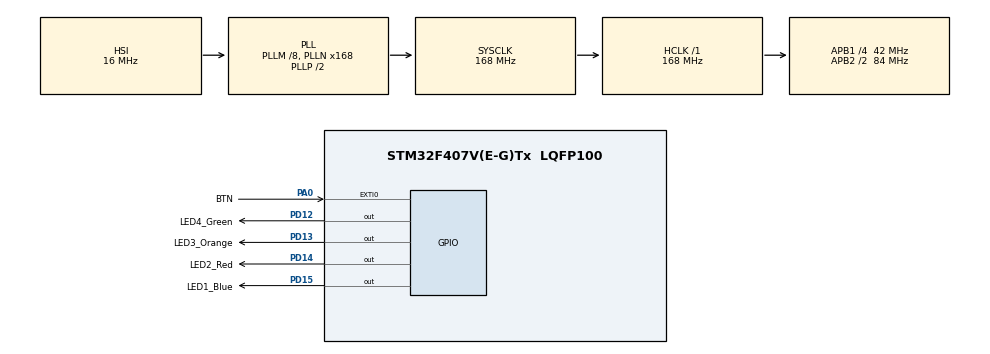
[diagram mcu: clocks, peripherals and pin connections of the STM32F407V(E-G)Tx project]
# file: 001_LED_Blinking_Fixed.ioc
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Mcu.Family=STM32F4
Mcu.Name=STM32F407V(E-G)Tx
Mcu.Package=LQFP100
NVIC.EXTI0_IRQn=true\:0\:0\:false\:false\:true\:true\:true\:true
NVIC.PriorityGroup=NVIC_PRIORITYGROUP_4
PA0-WKUP.GPIO_Label=BTN
PA0-WKUP.GPIO_ModeDefaultEXTI=GPIO_MODE_IT_RISING
PA0-WKUP.GPIO_PuPd=GPIO_PULLUP
PA0-WKUP.Signal=GPXTI0
PA13.Mode=Trace_Asynchronous_SW
PA13.Signal=SYS_JTMS-SWDIO
PA14.Mode=Trace_Asynchronous_SW
PA14.Signal=SYS_JTCK-SWCLK
PB3.Mode=Trace_Asynchronous_SW
PB3.Signal=SYS_JTDO-SWO
PD12.GPIO_Label=LED4_Green
PD12.PinState=GPIO_PIN_SET
PD12.Signal=GPIO_Output
PD13.GPIO_Label=LED3_Orange
PD13.PinState=GPIO_PIN_SET
PD13.Signal=GPIO_Output
PD14.GPIO_Label=LED2_Red
PD14.Signal=GPIO_Output
PD15.GPIO_Label=LED1_Blue
PD15.Signal=GPIO_Output
PH0-OSC_IN.Mode=HSE-External-Oscillator
PH0-OSC_IN.Signal=RCC_OSC_IN
PH1-OSC_OUT.Mode=HSE-External-Oscillator
PH1-OSC_OUT.Signal=RCC_OSC_OUT
ProjectManager.HeapSize=0x200
ProjectManager.StackSize=0x400
ProjectManager.TargetToolchain=STM32CubeIDE
RCC.48MHZClocksFreq_Value=84000000
RCC.AHBFreq_Value=168000000
RCC.APB1CLKDivider=RCC_HCLK_DIV4
RCC.APB1Freq_Value=42000000
RCC.APB1TimFreq_Value=84000000
RCC.APB2CLKDivider=RCC_HCLK_DIV2
RCC.APB2Freq_Value=84000000
RCC.APB2TimFreq_Value=168000000
RCC.CortexFreq_Value=168000000
RCC.HCLKFreq_Value=168000000
RCC.HSE_VALUE=8000000
RCC.HSI_VALUE=16000000
RCC.LSE_VALUE=32768
RCC.PLLM=8
RCC.PLLN=168
RCC.SYSCLKFreq_VALUE=168000000
RCC.SYSCLKSource=RCC_SYSCLKSOURCE_PLLCLK
RCC.VCOOutputFreq_Value=336000000
board=custom

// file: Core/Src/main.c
/* USER CODE BEGIN Header */
/**
  ******************************************************************************
  * @file           : main.c
  * @brief          : Main program body
  ******************************************************************************
  * @attention
  *
  * Copyright (c) 2025 STMicroelectronics.
  * All rights reserved.
  *
  * This software is licensed under terms that can be found in the LICENSE file
  * in the root directory of this software component.
  * If no LICENSE file comes with this software, it is provided AS-IS.
  *
  ******************************************************************************
  */
/* USER CODE END Header */
#include "main.h"

/* USER CODE BEGIN Includes */

#include "stdio.h"

/* USER CODE END Includes */

/* USER CODE BEGIN PV */

uint8_t btn_press = 0;

uint16_t blink_delays[] = {

};

/* USER CODE END PV */

void SystemClock_Config(void);
static void MX_GPIO_Init(void);

/* USER CODE BEGIN 0 */

/**
  * @brief  Meretarget fungsi _write (yang digunakan oleh printf) ke ITM.
  */
int _write(int file, char *ptr, int len)
{
  int DataIdx;
  for (DataIdx = 0; DataIdx < len; DataIdx++)
  {
    ITM_SendChar(*ptr++); // Mengirim karakter satu per satu via SWO
  }
  return len;
}

void HAL_GPIO_EXTI_Callback(uint16_t GPIO_Pin) {
  if (GPIO_Pin == BTN_Pin) {
    btn_press = 1;
  }
}

/* USER CODE END 0 */

int main(void)
{

  /* MCU Configuration--------------------------------------------------------*/

  /* Reset of all peripherals, Initializes the Flash interface and the Systick. */
  HAL_Init();

  /* Configure the system clock */
  SystemClock_Config();

  /* Initialize all configured peripherals */
  MX_GPIO_Init();
  /* USER CODE BEGIN 2 */

  printf("Blinking Starting\n");

  /* USER CODE END 2 */

  /* Infinite loop */
  /* USER CODE BEGIN WHILE */

  uint32_t now = 0, last_blink = 0, last_tick = 0, loop_cnt = 0;

  while (1)
  {

    now = HAL_GetTick();

    if (now - last_blink >= 500) {
        printf("Toogling GPIO\n");
        HAL_GPIO_TogglePin(GPIOD, LED1_Blue_Pin|LED2_Red_Pin|LED3_Orange_Pin|LED4_Green_Pin);
        last_blink = now;
    }

    if (now - last_tick >= 1000) {
      printf("Tick %lu (loop count = %lu)\n", now / 1000, loop_cnt);
      loop_cnt = 0;
      last_tick = now;
    }

    if (btn_press == 1) {
      printf("Button pressed!\n");
      btn_press = 0;
    }
    ++loop_cnt;

    /* USER CODE END WHILE */

  }
}

void SystemClock_Config(void)
{
  RCC_OscInitTypeDef RCC_OscInitStruct = {0};
  RCC_ClkInitTypeDef RCC_ClkInitStruct = {0};

  /** Configure the main internal regulator output voltage
  */
  __HAL_RCC_PWR_CLK_ENABLE();
  __HAL_PWR_VOLTAGESCALING_CONFIG(PWR_REGULATOR_VOLTAGE_SCALE1);

  /** Initializes the RCC Oscillators according to the specified parameters
  * in the RCC_OscInitTypeDef structure.
  */
  RCC_OscInitStruct.OscillatorType = RCC_OSCILLATORTYPE_HSI;
  RCC_OscInitStruct.HSIState = RCC_HSI_ON;
  RCC_OscInitStruct.HSICalibrationValue = RCC_HSICALIBRATION_DEFAULT;
  RCC_OscInitStruct.PLL.PLLState = RCC_PLL_ON;
  RCC_OscInitStruct.PLL.PLLSource = RCC_PLLSOURCE_HSI;
  RCC_OscInitStruct.PLL.PLLM = 8;
  RCC_OscInitStruct.PLL.PLLN = 168;
  RCC_OscInitStruct.PLL.PLLP = RCC_PLLP_DIV2;
  RCC_OscInitStruct.PLL.PLLQ = 4;
  if (HAL_RCC_OscConfig(&RCC_OscInitStruct) != HAL_OK)
  {
    Error_Handler();
  }

  /** Initializes the CPU, AHB and APB buses clocks
  */
  RCC_ClkInitStruct.ClockType = RCC_CLOCKTYPE_HCLK|RCC_CLOCKTYPE_SYSCLK
                              |RCC_CLOCKTYPE_PCLK1|RCC_CLOCKTYPE_PCLK2;
  RCC_ClkInitStruct.SYSCLKSource = RCC_SYSCLKSOURCE_PLLCLK;
  RCC_ClkInitStruct.AHBCLKDivider = RCC_SYSCLK_DIV1;
  RCC_ClkInitStruct.APB1CLKDivider = RCC_HCLK_DIV4;
  RCC_ClkInitStruct.APB2CLKDivider = RCC_HCLK_DIV2;

  if (HAL_RCC_ClockConfig(&RCC_ClkInitStruct, FLASH_LATENCY_5) != HAL_OK)
  {
    Error_Handler();
  }
}

static void MX_GPIO_Init(void)
{
  GPIO_InitTypeDef GPIO_InitStruct = {0};

  /* GPIO Ports Clock Enable */
  __HAL_RCC_GPIOH_CLK_ENABLE();
  __HAL_RCC_GPIOA_CLK_ENABLE();
  __HAL_RCC_GPIOD_CLK_ENABLE();
  __HAL_RCC_GPIOB_CLK_ENABLE();

  /*Configure GPIO pin Output Level */
  HAL_GPIO_WritePin(GPIOD, LED4_Green_Pin|LED3_Orange_Pin, GPIO_PIN_SET);

  /*Configure GPIO pin Output Level */
  HAL_GPIO_WritePin(GPIOD, LED2_Red_Pin|LED1_Blue_Pin, GPIO_PIN_RESET);

  /*Configure GPIO pin : BTN_Pin */
  GPIO_InitStruct.Pin = BTN_Pin;
  GPIO_InitStruct.Mode = GPIO_MODE_IT_RISING;
  GPIO_InitStruct.Pull = GPIO_PULLUP;
  HAL_GPIO_Init(BTN_GPIO_Port, &GPIO_InitStruct);

  /*Configure GPIO pins : LED4_Green_Pin LED3_Orange_Pin LED2_Red_Pin LED1_Blue_Pin */
  GPIO_InitStruct.Pin = LED4_Green_Pin|LED3_Orange_Pin|LED2_Red_Pin|LED1_Blue_Pin;
  GPIO_InitStruct.Mode = GPIO_MODE_OUTPUT_PP;
  GPIO_InitStruct.Pull = GPIO_NOPULL;
  GPIO_InitStruct.Speed = GPIO_SPEED_FREQ_LOW;
  HAL_GPIO_Init(GPIOD, &GPIO_InitStruct);

  /* EXTI interrupt init*/
  HAL_NVIC_SetPriority(EXTI0_IRQn, 0, 0);
  HAL_NVIC_EnableIRQ(EXTI0_IRQn);

}

void Error_Handler(void)
{
  __disable_irq();
  while (1)
  {
  }
}
